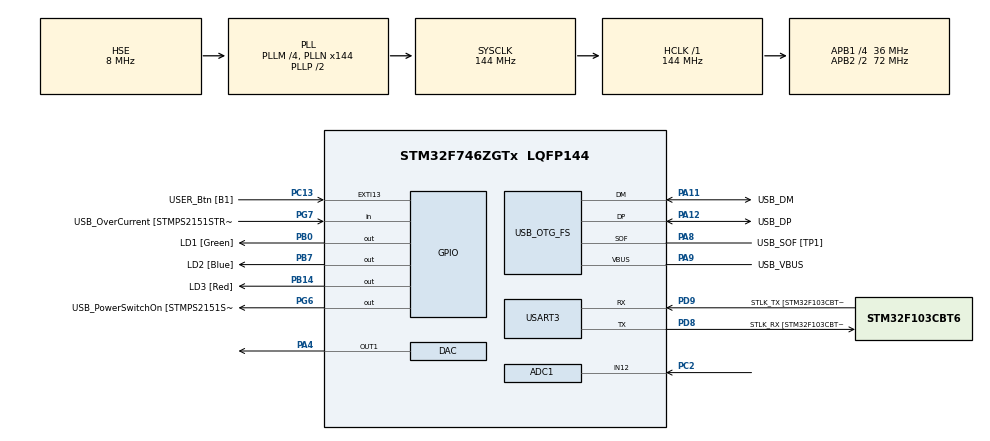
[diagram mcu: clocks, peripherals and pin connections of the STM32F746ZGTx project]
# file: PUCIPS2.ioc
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ADC1.Channel-0\#ChannelRegularConversion=ADC_CHANNEL_12
ADC1.NbrOfConversionFlag=1
ADC1.Rank-0\#ChannelRegularConversion=1
ADC1.SamplingTime-0\#ChannelRegularConversion=ADC_SAMPLETIME_3CYCLES
ADC1.master=1
DAC.DAC_Trigger=DAC_TRIGGER_T6_TRGO
Dma.DAC1.0.Direction=DMA_MEMORY_TO_PERIPH
Dma.DAC1.0.FIFOMode=DMA_FIFOMODE_DISABLE
Dma.DAC1.0.Instance=DMA1_Stream5
Dma.DAC1.0.MemDataAlignment=DMA_MDATAALIGN_WORD
Dma.DAC1.0.MemInc=DMA_MINC_ENABLE
Dma.DAC1.0.Mode=DMA_CIRCULAR
Dma.DAC1.0.PeriphDataAlignment=DMA_PDATAALIGN_WORD
Dma.DAC1.0.PeriphInc=DMA_PINC_DISABLE
Dma.DAC1.0.Priority=DMA_PRIORITY_HIGH
Dma.Request0=DAC1
Mcu.Family=STM32F7
Mcu.Name=STM32F746ZGTx
Mcu.Package=LQFP144
NVIC.DMA1_Stream5_IRQn=true\:0\:0\:false\:false\:true\:false\:true
NVIC.PriorityGroup=NVIC_PRIORITYGROUP_4
NVIC.TIM6_DAC_IRQn=true\:0\:0\:false\:false\:true\:true\:true
PA1.GPIO_Label=RMII_REF_CLK [LAN8742A-CZ-TR_REFCLK0]
PA1.Signal=ETH_REF_CLK
PA10.GPIO_Label=USB_ID
PA10.Signal=USB_OTG_FS_ID
PA11.GPIO_Label=USB_DM
PA11.Mode=Device_Only
PA11.Signal=USB_OTG_FS_DM
PA12.GPIO_Label=USB_DP
PA12.Mode=Device_Only
PA12.Signal=USB_OTG_FS_DP
PA13.GPIO_Label=TMS
PA13.Mode=Serial_Wire
PA13.Signal=SYS_JTMS-SWDIO
PA14.GPIO_Label=TCK
PA14.Mode=Serial_Wire
PA14.Signal=SYS_JTCK-SWCLK
PA2.GPIO_Label=RMII_MDIO [LAN8742A-CZ-TR_MDIO]
PA2.Signal=ETH_MDIO
PA4.Signal=COMP_DAC1_group
PA7.GPIO_Label=RMII_CRS_DV [LAN8742A-CZ-TR_CRS_DV]
PA7.Signal=ETH_CRS_DV
PA8.GPIO_Label=USB_SOF [TP1]
PA8.Mode=Activate_SOF_FS
PA8.Signal=USB_OTG_FS_SOF
PA9.GPIO_Label=USB_VBUS
PA9.Mode=Activate_VBUS
PA9.Signal=USB_OTG_FS_VBUS
PB0.GPIO_Label=LD1 [Green]
PB0.Signal=GPIO_Output
PB13.GPIO_Label=RMII_TXD1 [LAN8742A-CZ-TR_TXD1]
PB13.Signal=ETH_TXD1
PB14.GPIO_Label=LD3 [Red]
PB14.Signal=GPIO_Output
PB3.GPIO_Label=SW0
PB3.Signal=SYS_JTDO-SWO
PB7.GPIO_Label=LD2 [Blue]
PB7.Signal=GPIO_Output
PC1.GPIO_Label=RMII_MDC [LAN8742A-CZ-TR_MDC]
PC1.Signal=ETH_MDC
PC13.GPIO_Label=USER_Btn [B1]
PC13.Signal=GPXTI13
PC14/OSC32_IN.Mode=LSE-External-Oscillator
PC14/OSC32_IN.Signal=RCC_OSC32_IN
PC15/OSC32_OUT.Mode=LSE-External-Oscillator
PC15/OSC32_OUT.Signal=RCC_OSC32_OUT
PC2.Signal=ADCx_IN12
PC4.GPIO_Label=RMII_RXD0 [LAN8742A-CZ-TR_RXD0]
PC4.Signal=ETH_RXD0
PC5.GPIO_Label=RMII_RXD1 [LAN8742A-CZ-TR_RXD1]
PC5.Signal=ETH_RXD1
PD8.GPIO_Label=STLK_RX [STM32F103CBT6_PA3]
PD8.Mode=Asynchronous
PD8.Signal=USART3_TX
PD9.GPIO_Label=STLK_TX [STM32F103CBT6_PA2]
PD9.Mode=Asynchronous
PD9.Signal=USART3_RX
PG11.GPIO_Label=RMII_TX_EN [LAN8742A-CZ-TR_TXEN]
PG11.Signal=ETH_TX_EN
PG13.GPIO_Label=RMII_TXD0 [LAN8742A-CZ-TR_TXD0]
PG13.Signal=ETH_TXD0
PG6.GPIO_Label=USB_PowerSwitchOn [STMPS2151STR_EN]
PG6.Signal=GPIO_Output
PG7.GPIO_Label=USB_OverCurrent [STMPS2151STR_FAULT]
PG7.Signal=GPIO_Input
PH0/OSC_IN.GPIO_Label=MCO [STM32F103CBT6_PA8]
PH0/OSC_IN.Mode=HSE-External-Clock-Source
PH0/OSC_IN.Signal=RCC_OSC_IN
PH1/OSC_OUT.Mode=HSE-External-Clock-Source
PH1/OSC_OUT.Signal=RCC_OSC_OUT
ProjectManager.HeapSize=0x200
ProjectManager.StackSize=0x400
ProjectManager.TargetToolchain=STM32CubeIDE
RCC.48MHZClocksFreq_Value=24000000
RCC.AHBFreq_Value=144000000
RCC.APB1CLKDivider=RCC_HCLK_DIV4
RCC.APB1Freq_Value=36000000
RCC.APB1TimFreq_Value=72000000
RCC.APB2CLKDivider=RCC_HCLK_DIV2
RCC.APB2Freq_Value=72000000
RCC.APB2TimFreq_Value=144000000
RCC.CortexFreq_Value=144000000
RCC.HCLKFreq_Value=144000000
RCC.HSE_VALUE=8000000
RCC.HSI_VALUE=16000000
RCC.PLLM=4
RCC.PLLMUL=RCC_PLL_MUL9
RCC.PLLN=144
RCC.PLLQ=6
RCC.PRESCALERUSB=RCC_USBCLKSOURCE_PLL_DIV1_5
RCC.SYSCLKFreq_VALUE=144000000
RCC.SYSCLKSource=RCC_SYSCLKSOURCE_PLLCLK
RCC.SYSCLKSourceVirtual=RCC_SYSCLKSOURCE_PLLCLK
RCC.USBFreq_Value=48000000
RCC.VCOOutputFreq_Value=288000000
SH.ADCx_IN12.0=ADC1_IN12,IN12
SH.COMP_DAC1_group.0=DAC_OUT1,DAC_OUT1
TIM6.Period=1249
TIM6.Prescaler=71
TIM6.TIM_MasterOutputTrigger=TIM_TRGO_UPDATE
USART3.VirtualMode-Asynchronous=VM_ASYNC
USB_OTG_FS.VirtualMode=Device_Only
VP_TIM6_VS_ClockSourceINT.Mode=Enable_Timer
board=NUCLEO-F746ZG

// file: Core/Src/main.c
/* USER CODE BEGIN Header */
/**
  ******************************************************************************
  * @file           : main.c
  * @brief          : Main program body
  ******************************************************************************
  * @attention
  *
  * <h2><center>&copy; Copyright (c) 2021 STMicroelectronics.
  * All rights reserved.</center></h2>
  *
  * This software component is licensed by ST under BSD 3-Clause license,
  * the "License"; You may not use this file except in compliance with the
  * License. You may obtain a copy of the License at:
  *                        opensource.org/licenses/BSD-3-Clause
  *
  ******************************************************************************
  */
/* USER CODE END Header */
#include "main.h"
#include "adc.h"
#include "dac.h"
#include "dma.h"
#include "tim.h"
#include "usart.h"
#include "usb_otg.h"
#include "gpio.h"

/* USER CODE BEGIN Includes */
#include <math.h>
#include <sine2.h>
/* USER CODE END Includes */

/* USER CODE BEGIN PD */
#define N 8
#define N1 16
#define N2 32
#define N3 128
/* USER CODE END PD */

/* USER CODE BEGIN PV */
;
uint32_t sine_val8[N];
uint32_t sine_val16[N1];
uint32_t sine_val32[N2];
uint32_t sine_val128[N3];
uint32_t sawtooth_val16[N1];
uint32_t sawtooth_val32[N2];
uint32_t sawtooth_val128[N3];

uint8_t i=0;
/* USER CODE END PV */

void SystemClock_Config(void);

/* USER CODE BEGIN 0 */

void get_sineval_N16_10Hz (){

	__HAL_TIM_SET_PRESCALER(&htim6,99);
	__HAL_TIM_SET_AUTORELOAD(&htim6, 4499);
	for (int i=0;i<N1;i++){
		sine_val16[i] = ((sin(i*2*M_PI/N1)+1)*(3900/2)+60);//+ OFFSET
//		sine_val[i] = ((sin(i*2*M_PI/N)+1)*(4096/2)); // ORYGINAL?
	}
}
void get_sineval_N32_10Hz (){
	__HAL_TIM_SET_PRESCALER(&htim6,99);
	__HAL_TIM_SET_AUTORELOAD(&htim6, 2249);

	for (int i=0;i<N2;i++){
		sine_val32[i] = ((sin(i*2*M_PI/N2)+1)*(3900/2)+60);//+ OFFSET
//		sine_val[i] = ((sin(i*2*M_PI/N)+1)*(4096/2)); // ORYGINAL?
	}
}
void get_sineval_N128_10Hz (){
	__HAL_TIM_SET_PRESCALER(&htim6,9);
	__HAL_TIM_SET_AUTORELOAD(&htim6, 5624);
	for (int i=0;i<N3;i++){
		sine_val128[i] = ((sin(i*2*M_PI/N3)+1)*(3900/2)+60);//+ OFFSET
//		sine_val[i] = ((sin(i*2*M_PI/N)+1)*(4096/2)); // ORYGINAL?
	}
}
void get_sineval_N8_100Hz (){

	__HAL_TIM_SET_PRESCALER(&htim6,71);
	__HAL_TIM_SET_AUTORELOAD(&htim6, 1249);
	for (int i=0;i<N;i++){
		sine_val8[i] = ((sin(i*2*M_PI/N)+1)*(3900/2)+60);//+ OFFSET
//		sine_val[i] = ((sin(i*2*M_PI/N)+1)*(4096/2)); // ORYGINAL?
	}
}
void get_sineval_N16_100Hz (){

	__HAL_TIM_SET_PRESCALER(&htim6,71);
	__HAL_TIM_SET_AUTORELOAD(&htim6, 624);

	for (int i=0;i<N1;i++){
		sine_val16[i] = ((sin(i*2*M_PI/N1)+1)*(3900/2)+60);//+ OFFSET
//		sine_val[i] = ((sin(i*2*M_PI/N)+1)*(4096/2)); // ORYGINAL?
	}
}
void get_sineval_N32_100Hz (){
	__HAL_TIM_SET_PRESCALER(&htim6,11);
	__HAL_TIM_SET_AUTORELOAD(&htim6, 1874);
	for (int i=0;i<N2;i++){
		sine_val32[i] = ((sin(i*2*M_PI/N2)+1)*(3900/2)+60);//+ OFFSET
//		sine_val[i] = ((sin(i*2*M_PI/N)+1)*(4096/2)); // ORYGINAL?
	}
}
void get_sineval_N128_100Hz (){
	__HAL_TIM_SET_PRESCALER(&htim6,0);
	__HAL_TIM_SET_AUTORELOAD(&htim6, 5624);
	for (int i=0;i<N3;i++){
		sine_val128[i] = ((sin(i*2*M_PI/N3)+1)*(3900/2)+60);//+ OFFSET
//		sine_val[i] = ((sin(i*2*M_PI/N)+1)*(4096/2)); // ORYGINAL?
	}
}
void get_sineval_N16_1kHz (){

	__HAL_TIM_SET_PRESCALER(&htim6,0);
	__HAL_TIM_SET_AUTORELOAD(&htim6, 4499);

	for (int i=0;i<N1;i++){
		sine_val16[i] = ((sin(i*2*M_PI/N1)+1)*(3900/2)+60);//+ OFFSET
//		sine_val[i] = ((sin(i*2*M_PI/N)+1)*(4096/2)); // ORYGINAL?
	}
}
void get_sineval_N32_1kHz (){
	__HAL_TIM_SET_PRESCALER(&htim6,0);
	__HAL_TIM_SET_AUTORELOAD(&htim6, 2249);
	for (int i=0;i<N2;i++){
		sine_val32[i] = ((sin(i*2*M_PI/N2)+1)*(3900/2)+60);//+ OFFSET
//		sine_val[i] = ((sin(i*2*M_PI/N)+1)*(4096/2)); // ORYGINAL?
	}
}
void get_sineval_N128_1kHz (){
	// do dokonczenia
	__HAL_TIM_SET_PRESCALER(&htim6,0);
	__HAL_TIM_SET_AUTORELOAD(&htim6, 5624);
	for (int i=0;i<N3;i++){
		sine_val128[i] = ((sin(i*2*M_PI/N3)+1)*(3900/2)+60);//+ OFFSET
//		sine_val[i] = ((sin(i*2*M_PI/N)+1)*(4096/2)); // ORYGINAL?
	}
}
void get_sawtooth_N16_100Hz (){

	__HAL_TIM_SET_PRESCALER(&htim6,71);
	__HAL_TIM_SET_AUTORELOAD(&htim6, 624);
	float A=0;
	for (int i=0;i<N1;i++){
		sawtooth_val16[i] = (A*(3900/2)+60);
		A=A+0.12;
	}
}
void get_sawtooth_N32_100Hz (){
	__HAL_TIM_SET_PRESCALER(&htim6,11);
	__HAL_TIM_SET_AUTORELOAD(&htim6, 1874);
	float A=0;
	for (int i=0;i<N2;i++){
		sawtooth_val32[i] = (A*(3900/2)+60);
		A=A+0.06;
	}
}
void get_sawtooth_N128_100Hz (){
	__HAL_TIM_SET_PRESCALER(&htim6,0);
	__HAL_TIM_SET_AUTORELOAD(&htim6, 5624);
	float A=0;
	for (int i=0;i<N3;i++){
		sawtooth_val128[i] = (A*(3900/2)+60);
		A=A+0.015;
	}
}
void HAL_TIM_PeriodElapsedCallback(TIM_HandleTypeDef *htim)
{
if(htim->Instance==TIM6)
{

	HAL_DAC_SetValue(&hdac, DAC_CHANNEL_1, DAC_ALIGN_12B_R, sawtooth_val32[i]);
    i=(i<N2-1) ? (i+1) : (0);

}
}
/* USER CODE END 0 */

int main(void)
{

  /* MCU Configuration--------------------------------------------------------*/

  /* Reset of all peripherals, Initializes the Flash interface and the Systick. */
  HAL_Init();

  /* Configure the system clock */
  SystemClock_Config();

  /* Initialize all configured peripherals */
  MX_GPIO_Init();
  MX_USART3_UART_Init();
  MX_USB_OTG_FS_PCD_Init();
  MX_DAC_Init();
  MX_TIM6_Init();
  MX_DMA_Init();
  MX_ADC1_Init();
  /* USER CODE BEGIN 2 */
  HAL_DAC_Start(&hdac, DAC_CHANNEL_1);
//    get_sineval_N8_100Hz();
//    get_sineval_N16_100Hz();
//    get_sineval_N32_100Hz();
//    get_sineval_N128_100Hz ();
  //  get_sineval_N16_100Hz();
//     get_sineval_N16_10Hz();
//     get_sineval_N32_10Hz();
//     get_sineval_N128_10Hz();
//  get_sawtooth_N16_100Hz();
  get_sawtooth_N32_100Hz();
//  get_sawtooth_N128_100Hz();

  HAL_TIM_Base_Start_IT(&htim6);
//  HAL_DAC_Start_DMA(&hdac, DAC_CHANNEL_1, sine_val32, N2, DAC_ALIGN_12B_R);
  /* USER CODE END 2 */

  /* Infinite loop */
  while (1)
  {

  }
}

void SystemClock_Config(void)
{
  RCC_OscInitTypeDef RCC_OscInitStruct = {0};
  RCC_ClkInitTypeDef RCC_ClkInitStruct = {0};
  RCC_PeriphCLKInitTypeDef PeriphClkInitStruct = {0};

  /** Configure LSE Drive Capability
  */
  HAL_PWR_EnableBkUpAccess();
  /** Configure the main internal regulator output voltage
  */
  __HAL_RCC_PWR_CLK_ENABLE();
  __HAL_PWR_VOLTAGESCALING_CONFIG(PWR_REGULATOR_VOLTAGE_SCALE3);
  /** Initializes the RCC Oscillators according to the specified parameters
  * in the RCC_OscInitTypeDef structure.
  */
  RCC_OscInitStruct.OscillatorType = RCC_OSCILLATORTYPE_HSE;
  RCC_OscInitStruct.HSEState = RCC_HSE_BYPASS;
  RCC_OscInitStruct.PLL.PLLState = RCC_PLL_ON;
  RCC_OscInitStruct.PLL.PLLSource = RCC_PLLSOURCE_HSE;
  RCC_OscInitStruct.PLL.PLLM = 4;
  RCC_OscInitStruct.PLL.PLLN = 144;
  RCC_OscInitStruct.PLL.PLLP = RCC_PLLP_DIV2;
  RCC_OscInitStruct.PLL.PLLQ = 6;
  if (HAL_RCC_OscConfig(&RCC_OscInitStruct) != HAL_OK)
  {
    Error_Handler();
  }
  /** Initializes the CPU, AHB and APB buses clocks
  */
  RCC_ClkInitStruct.ClockType = RCC_CLOCKTYPE_HCLK|RCC_CLOCKTYPE_SYSCLK
                              |RCC_CLOCKTYPE_PCLK1|RCC_CLOCKTYPE_PCLK2;
  RCC_ClkInitStruct.SYSCLKSource = RCC_SYSCLKSOURCE_PLLCLK;
  RCC_ClkInitStruct.AHBCLKDivider = RCC_SYSCLK_DIV1;
  RCC_ClkInitStruct.APB1CLKDivider = RCC_HCLK_DIV4;
  RCC_ClkInitStruct.APB2CLKDivider = RCC_HCLK_DIV2;

  if (HAL_RCC_ClockConfig(&RCC_ClkInitStruct, FLASH_LATENCY_4) != HAL_OK)
  {
    Error_Handler();
  }
  PeriphClkInitStruct.PeriphClockSelection = RCC_PERIPHCLK_USART3|RCC_PERIPHCLK_CLK48;
  PeriphClkInitStruct.Usart3ClockSelection = RCC_USART3CLKSOURCE_PCLK1;
  PeriphClkInitStruct.Clk48ClockSelection = RCC_CLK48SOURCE_PLL;
  if (HAL_RCCEx_PeriphCLKConfig(&PeriphClkInitStruct) != HAL_OK)
  {
    Error_Handler();
  }
}

void Error_Handler(void)
{
  __disable_irq();
  while (1)
  {
  }
}

/************************ (C) COPYRIGHT STMicroelectronics *****END OF FILE****/
